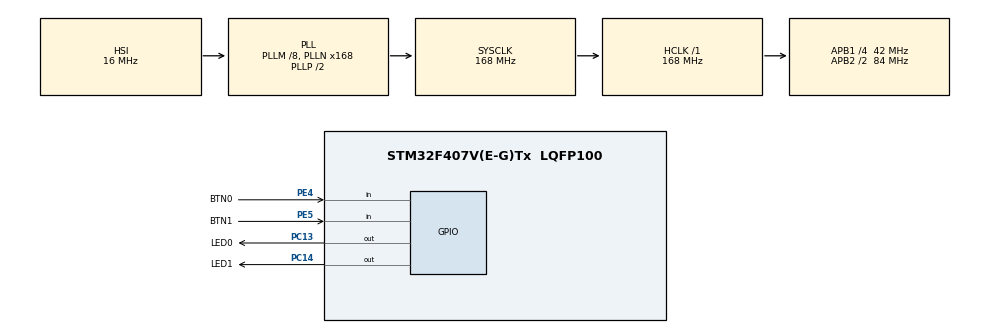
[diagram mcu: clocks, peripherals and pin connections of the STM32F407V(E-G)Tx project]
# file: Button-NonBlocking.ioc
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Mcu.Family=STM32F4
Mcu.Name=STM32F407V(E-G)Tx
Mcu.Package=LQFP100
NVIC.PriorityGroup=NVIC_PRIORITYGROUP_4
PC13-ANTI_TAMP.GPIO_Label=LED0
PC13-ANTI_TAMP.Signal=GPIO_Output
PC14-OSC32_IN.GPIO_Label=LED1
PC14-OSC32_IN.Signal=GPIO_Output
PE4.GPIO_Label=BTN0
PE4.Signal=GPIO_Input
PE5.GPIO_Label=BTN1
PE5.Signal=GPIO_Input
ProjectManager.HeapSize=0x200
ProjectManager.StackSize=0x400
ProjectManager.TargetToolchain=MDK-ARM V5.27
RCC.48MHZClocksFreq_Value=84000000
RCC.AHBFreq_Value=168000000
RCC.APB1CLKDivider=RCC_HCLK_DIV4
RCC.APB1Freq_Value=42000000
RCC.APB1TimFreq_Value=84000000
RCC.APB2CLKDivider=RCC_HCLK_DIV2
RCC.APB2Freq_Value=84000000
RCC.APB2TimFreq_Value=168000000
RCC.CortexFreq_Value=168000000
RCC.FLatency=FLASH_LATENCY_5
RCC.HCLKFreq_Value=168000000
RCC.HSE_VALUE=25000000
RCC.HSI_VALUE=16000000
RCC.LSE_VALUE=32768
RCC.PLLM=8
RCC.PLLN=168
RCC.SYSCLKFreq_VALUE=168000000
RCC.SYSCLKSource=RCC_SYSCLKSOURCE_PLLCLK
RCC.VCOOutputFreq_Value=336000000
board=custom

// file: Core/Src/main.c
/* USER CODE BEGIN Header */
/**
  ******************************************************************************
  * @file           : main.c
  * @brief          : Main program body
  ******************************************************************************
  * @attention
  *
  * <h2><center>&copy; Copyright (c) 2023 STMicroelectronics.
  * All rights reserved.</center></h2>
  *
  * This software component is licensed by ST under BSD 3-Clause license,
  * the "License"; You may not use this file except in compliance with the
  * License. You may obtain a copy of the License at:
  *                        opensource.org/licenses/BSD-3-Clause
  *
  ******************************************************************************
  */
/* USER CODE END Header */
#include "main.h"
#include "gpio.h"

/* USER CODE BEGIN PD */
#define KEY_SAMPLE_PERIOD   50 //ms

#define KEY_STATE_HOLD      0x00
#define KEY_STATE_RELEASED  0x01
#define KEY_STATE_PRESSED   0x02
#define KEY_STATE_NONE      0x03
/* USER CODE END PD */

void SystemClock_Config(void);

int main(void)
{
  /* USER CODE BEGIN 1 */
  uint32_t key_next_sample = 0;
  uint8_t key0 = KEY_STATE_NONE;
  uint8_t key1 = KEY_STATE_NONE;
  /* USER CODE END 1 */

  /* MCU Configuration--------------------------------------------------------*/

  /* Reset of all peripherals, Initializes the Flash interface and the Systick. */
  HAL_Init();

  /* Configure the system clock */
  SystemClock_Config();

  /* Initialize all configured peripherals */
  MX_GPIO_Init();

  /* Infinite loop */
  /* USER CODE BEGIN WHILE */
  while (1)
  {
    if (key_next_sample <= HAL_GetTick()) {
      key_next_sample = HAL_GetTick() + KEY_SAMPLE_PERIOD;
      // check key state
      key0 = ((key0 << 1) | HAL_GPIO_ReadPin(BTN0_GPIO_Port, BTN0_Pin)) & 3;
      // handle key
      switch (key0) {
        case KEY_STATE_PRESSED:
          HAL_GPIO_TogglePin(LED0_GPIO_Port, LED0_Pin);
          break;
        case KEY_STATE_HOLD:

          break;
        case KEY_STATE_RELEASED:

          break;
        case KEY_STATE_NONE:
        default:

          break;
      }

      // check key state
      key1 = ((key1 << 1) | HAL_GPIO_ReadPin(BTN1_GPIO_Port, BTN1_Pin)) & 3;
      // handle key
      switch (key1) {
        case KEY_STATE_PRESSED:
          HAL_GPIO_WritePin(LED1_GPIO_Port, LED1_Pin, GPIO_PIN_SET);
          break;
        case KEY_STATE_HOLD:
          HAL_GPIO_TogglePin(LED1_GPIO_Port, LED1_Pin);
          break;
        case KEY_STATE_RELEASED:
          HAL_GPIO_WritePin(LED1_GPIO_Port, LED1_Pin, GPIO_PIN_RESET);
          break;
        case KEY_STATE_NONE:
        default:

          break;
      }

    }
    /* USER CODE END WHILE */

  }
}

void SystemClock_Config(void)
{
  RCC_OscInitTypeDef RCC_OscInitStruct = {0};
  RCC_ClkInitTypeDef RCC_ClkInitStruct = {0};

  /** Configure the main internal regulator output voltage
  */
  __HAL_RCC_PWR_CLK_ENABLE();
  __HAL_PWR_VOLTAGESCALING_CONFIG(PWR_REGULATOR_VOLTAGE_SCALE1);
  /** Initializes the RCC Oscillators according to the specified parameters
  * in the RCC_OscInitTypeDef structure.
  */
  RCC_OscInitStruct.OscillatorType = RCC_OSCILLATORTYPE_HSI;
  RCC_OscInitStruct.HSIState = RCC_HSI_ON;
  RCC_OscInitStruct.HSICalibrationValue = RCC_HSICALIBRATION_DEFAULT;
  RCC_OscInitStruct.PLL.PLLState = RCC_PLL_ON;
  RCC_OscInitStruct.PLL.PLLSource = RCC_PLLSOURCE_HSI;
  RCC_OscInitStruct.PLL.PLLM = 8;
  RCC_OscInitStruct.PLL.PLLN = 168;
  RCC_OscInitStruct.PLL.PLLP = RCC_PLLP_DIV2;
  RCC_OscInitStruct.PLL.PLLQ = 4;
  if (HAL_RCC_OscConfig(&RCC_OscInitStruct) != HAL_OK)
  {
    Error_Handler();
  }
  /** Initializes the CPU, AHB and APB buses clocks
  */
  RCC_ClkInitStruct.ClockType = RCC_CLOCKTYPE_HCLK|RCC_CLOCKTYPE_SYSCLK
                              |RCC_CLOCKTYPE_PCLK1|RCC_CLOCKTYPE_PCLK2;
  RCC_ClkInitStruct.SYSCLKSource = RCC_SYSCLKSOURCE_PLLCLK;
  RCC_ClkInitStruct.AHBCLKDivider = RCC_SYSCLK_DIV1;
  RCC_ClkInitStruct.APB1CLKDivider = RCC_HCLK_DIV4;
  RCC_ClkInitStruct.APB2CLKDivider = RCC_HCLK_DIV2;

  if (HAL_RCC_ClockConfig(&RCC_ClkInitStruct, FLASH_LATENCY_5) != HAL_OK)
  {
    Error_Handler();
  }
}

void Error_Handler(void)
{
  __disable_irq();
  while (1)
  {
  }
}

/************************ (C) COPYRIGHT STMicroelectronics *****END OF FILE****/
